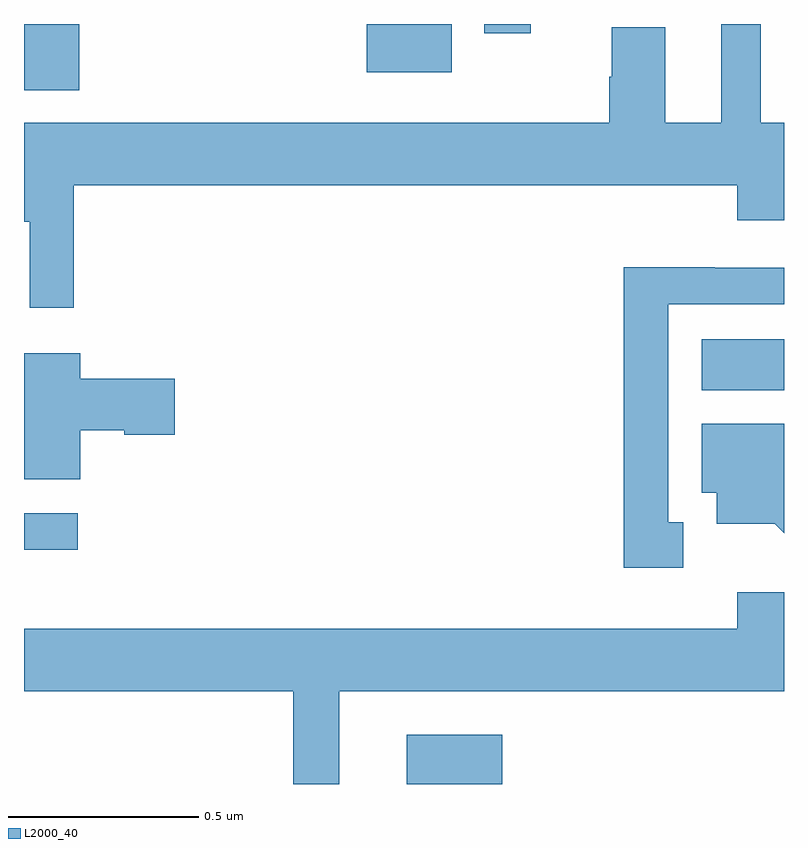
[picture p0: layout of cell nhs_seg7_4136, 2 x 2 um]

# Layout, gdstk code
import gdstk
lib = gdstk.Library(unit=1e-6, precision=1e-09)
def R(c, l, rs):  # rectangles x0, y0, x1, y1
    for r in rs: c.add(gdstk.rectangle(r[:2], r[2:], *l))
def P(c, l, *ps):  # polygons
    for p in ps: c.add(gdstk.Polygon(p, *l))
L2000_40 = (2000, 40)

nhs_seg7_4136 = lib.new_cell('nhs_seg7_4136')
R(nhs_seg7_4136, L2000_40, [(169.007,1039,169.258,1039.129), (168,1039.617,168.142,1039.713), (169.784,1040.036,170,1040.17), (168,1040.826,168.146,1041), (168.902,1040.873,169.126,1041), (169.211,1040.976,169.333,1041)])
P(nhs_seg7_4136, L2000_40, [(169.877,1040.483),(170,1040.483),(170,1040.74),(169.939,1040.74),(169.939,1041),(169.835,1041),(169.835,1040.74),(169.687,1040.74),(169.687,1040.992),(169.547,1040.992),(169.547,1040.861),(169.54,1040.861),(169.54,1040.74),(168,1040.74),(168,1040.48),(168.015,1040.48),(168.015,1040.253),(168.131,1040.253),(168.131,1040.576),(169.877,1040.576)],
  [(169.735,1039.689),(169.696,1039.689),(169.696,1040.262),(170,1040.262),(170,1040.358),(169.818,1040.358),(169.818,1040.36),(169.578,1040.36),(169.578,1039.569),(169.735,1039.569)],
  [(168.148,1039.931),(168.264,1039.931),(168.264,1039.919),(168.397,1039.919),(168.397,1040.066),(168.148,1040.066),(168.148,1040.134),(168,1040.134),(168,1039.802),(168.148,1039.802)],
  [(170,1039.948),(169.784,1039.948),(169.784,1039.766),(169.823,1039.766),(169.823,1039.685),(169.975,1039.685),(170,1039.66)],
  [(168.829,1039.244),(170,1039.244),(170,1039.504),(169.877,1039.504),(169.877,1039.408),(168,1039.408),(168,1039.244),(168.708,1039.244),(168.708,1039),(168.829,1039)])

lib.write_gds('nhs_seg7_4136.gds')
